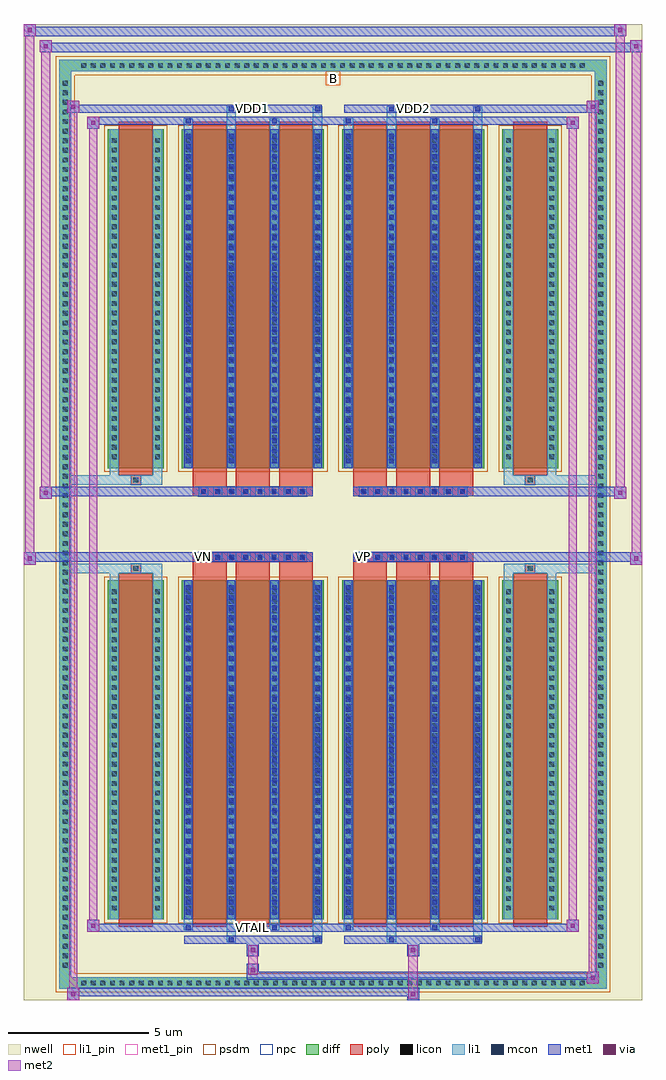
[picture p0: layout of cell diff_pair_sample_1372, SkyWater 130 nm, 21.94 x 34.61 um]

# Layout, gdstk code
import gdstk
lib = gdstk.Library(unit=1e-6, precision=5e-09)
def R(c, l, rs):  # rectangles x0, y0, x1, y1
    for r in rs: c.add(gdstk.rectangle(r[:2], r[2:], *l))
def A(c, l, x, y, w, h, nx, ny, dx, dy):  # array of equal rectangles
    R(c, l, [(x+i*dx, y+j*dy, x+i*dx+w, y+j*dy+h) for i in range(nx) for j in range(ny)])
def P(c, l, *ps):  # polygons
    for p in ps: c.add(gdstk.Polygon(p, *l))
nwell = (64, 20)
diff = (65, 20)
poly = (66, 20)
licon = (66, 44)
li1_pin = (67, 16)
li1 = (67, 20)
mcon = (67, 44)
met1_pin = (68, 16)
met1 = (68, 20)
via = (68, 44)
met2 = (69, 20)
psdm = (94, 20)
npc = (95, 20)

diff_pair_sample_1372 = lib.new_cell('diff_pair_sample_1372')
R(diff_pair_sample_1372, nwell, [(-10.97,-16.87,10.97,17.74), (-8.29,-15.06,-0.01,-0.8), (0.01,-15.06,8.29,-0.8), (-8.29,0.8,-0.01,15.06), (0.01,0.8,8.29,15.06)])
A(diff_pair_sample_1372, diff, -9.045, -16.47, 0.41, 0.41, 53, 2, 0.34, 32.53)
A(diff_pair_sample_1372, diff, -9.7, -15.845, 0.41, 0.41, 1, 93, 0, 0.34)
A(diff_pair_sample_1372, diff, 9.29, -15.845, 0.41, 0.41, 1, 93, 0, 0.34)
R(diff_pair_sample_1372, diff, [(-9.045,-16.47,9.045,-16.06), (-9.7,-15.845,-9.29,15.845), (9.29,-15.845,9.7,15.845), (-7.98,-14.015,-6,-1.985), (-5.36,-14.015,-0.32,-1.985), (0.32,-14.015,5.36,-1.985), (6,-14.015,7.98,-1.985), (-7.98,1.985,-6,14.015), (-5.36,1.985,-0.32,14.015), (0.32,1.985,5.36,14.015), (6,1.985,7.98,14.015), (-9.045,16.06,9.045,16.47)])
P(diff_pair_sample_1372, diff, [(9.7,16.47),(-9.7,16.47),(-9.7,-16.06),(-9.29,-16.06),(-9.29,16.06),(9.29,16.06),(9.29,-16.06),(-9.29,-16.06),(-9.7,-16.06),(-9.7,-16.47),(9.7,-16.47)])
A(diff_pair_sample_1372, poly, -4.97, -14.265, 1.2, 12.53, 3, 2, 1.53, 16)
A(diff_pair_sample_1372, poly, 0.71, -14.265, 1.2, 12.53, 3, 2, 1.53, 16)
A(diff_pair_sample_1372, poly, -4.97, -1.735, 1.2, 0.405, 3, 2, 1.53, 3.065)
A(diff_pair_sample_1372, poly, 0.71, -1.735, 1.2, 0.405, 3, 2, 1.53, 3.065)
A(diff_pair_sample_1372, poly, -4.755, -1.33, 0.33, 0.33, 8, 2, 0.5, 2.33)
A(diff_pair_sample_1372, poly, 0.925, -1.33, 0.33, 0.33, 8, 2, 0.5, 2.33)
R(diff_pair_sample_1372, poly, [(-7.59,-14.265,-6.39,-1.735), (6.39,-14.265,7.59,-1.735), (-7.155,-1.735,-6.825,-1.405), (-7.155,-1.735,-6.825,-1.405), (6.825,-1.735,7.155,-1.405), (6.825,-1.735,7.155,-1.405), (-4.97,-1.33,-0.71,-1), (0.71,-1.33,4.97,-1), (-4.97,1,-0.71,1.33), (0.71,1,4.97,1.33), (-7.155,1.405,-6.825,1.735), (-7.155,1.405,-6.825,1.735), (6.825,1.405,7.155,1.735), (6.825,1.405,7.155,1.735), (-7.59,1.735,-6.39,14.265), (6.39,1.735,7.59,14.265)])
A(diff_pair_sample_1372, licon, -8.925, -16.35, 0.17, 0.17, 53, 2, 0.34, 32.53)
A(diff_pair_sample_1372, licon, -9.58, -15.725, 0.17, 0.17, 1, 93, 0, 0.34)
A(diff_pair_sample_1372, licon, 9.41, -15.725, 0.17, 0.17, 1, 93, 0, 0.34)
A(diff_pair_sample_1372, licon, -7.84, -13.695, 0.17, 0.17, 1, 34, 0, 0.34)
A(diff_pair_sample_1372, licon, -6.31, -13.695, 0.17, 0.17, 1, 34, 0, 0.34)
A(diff_pair_sample_1372, licon, -5.22, -13.695, 0.17, 0.17, 4, 34, 1.53, 0.34)
A(diff_pair_sample_1372, licon, 0.46, -13.695, 0.17, 0.17, 4, 34, 1.53, 0.34)
A(diff_pair_sample_1372, licon, 6.14, -13.695, 0.17, 0.17, 1, 34, 0, 0.34)
A(diff_pair_sample_1372, licon, 7.67, -13.695, 0.17, 0.17, 1, 34, 0, 0.34)
A(diff_pair_sample_1372, licon, -4.675, -1.25, 0.17, 0.17, 8, 2, 0.5, 2.33)
A(diff_pair_sample_1372, licon, 1.005, -1.25, 0.17, 0.17, 8, 2, 0.5, 2.33)
A(diff_pair_sample_1372, licon, -7.84, 2.305, 0.17, 0.17, 1, 34, 0, 0.34)
A(diff_pair_sample_1372, licon, -6.31, 2.305, 0.17, 0.17, 1, 34, 0, 0.34)
A(diff_pair_sample_1372, licon, -5.22, 2.305, 0.17, 0.17, 4, 34, 1.53, 0.34)
A(diff_pair_sample_1372, licon, 0.46, 2.305, 0.17, 0.17, 4, 34, 1.53, 0.34)
A(diff_pair_sample_1372, licon, 6.14, 2.305, 0.17, 0.17, 1, 34, 0, 0.34)
A(diff_pair_sample_1372, licon, 7.67, 2.305, 0.17, 0.17, 1, 34, 0, 0.34)
R(diff_pair_sample_1372, licon, [(-7.075,-1.655,-6.905,-1.485), (6.905,-1.655,7.075,-1.485), (-7.075,1.485,-6.905,1.655), (6.905,1.485,7.075,1.655)])
R(diff_pair_sample_1372, li1_pin, [(-0.25,15.56,0.25,16.06)])
A(diff_pair_sample_1372, li1, -9.005, -16.43, 0.33, 0.33, 53, 2, 0.34, 32.53)
A(diff_pair_sample_1372, li1, -9.66, -15.805, 0.33, 0.33, 1, 93, 0, 0.34)
A(diff_pair_sample_1372, li1, 9.33, -15.805, 0.33, 0.33, 1, 93, 0, 0.34)
A(diff_pair_sample_1372, li1, -5.3, -14.015, 0.33, 12.03, 4, 2, 1.53, 16)
A(diff_pair_sample_1372, li1, 0.38, -14.015, 0.33, 12.03, 4, 2, 1.53, 16)
A(diff_pair_sample_1372, li1, -5.22, -13.845, 0.17, 0.17, 4, 33, 1.53, 0.36)
A(diff_pair_sample_1372, li1, -5.22, -13.845, 0.17, 11.69, 4, 2, 1.53, 16)
A(diff_pair_sample_1372, li1, 0.46, -13.845, 0.17, 0.17, 4, 33, 1.53, 0.36)
A(diff_pair_sample_1372, li1, 0.46, -13.845, 0.17, 11.69, 4, 2, 1.53, 16)
A(diff_pair_sample_1372, li1, -7.92, -13.775, 0.33, 0.33, 1, 34, 0, 0.34)
A(diff_pair_sample_1372, li1, -6.39, -13.775, 0.33, 0.33, 1, 34, 0, 0.34)
A(diff_pair_sample_1372, li1, -5.3, -13.775, 0.33, 0.33, 4, 34, 1.53, 0.34)
A(diff_pair_sample_1372, li1, 0.38, -13.775, 0.33, 0.33, 4, 34, 1.53, 0.34)
A(diff_pair_sample_1372, li1, 6.06, -13.775, 0.33, 0.33, 1, 34, 0, 0.34)
A(diff_pair_sample_1372, li1, 7.59, -13.775, 0.33, 0.33, 1, 34, 0, 0.34)
A(diff_pair_sample_1372, li1, -4.755, -1.33, 0.33, 0.33, 8, 2, 0.5, 2.33)
A(diff_pair_sample_1372, li1, 0.925, -1.33, 0.33, 0.33, 8, 2, 0.5, 2.33)
A(diff_pair_sample_1372, li1, -5.22, 2.155, 0.17, 0.17, 4, 33, 1.53, 0.36)
A(diff_pair_sample_1372, li1, 0.46, 2.155, 0.17, 0.17, 4, 33, 1.53, 0.36)
A(diff_pair_sample_1372, li1, -7.92, 2.225, 0.33, 0.33, 1, 34, 0, 0.34)
A(diff_pair_sample_1372, li1, -6.39, 2.225, 0.33, 0.33, 1, 34, 0, 0.34)
A(diff_pair_sample_1372, li1, -5.3, 2.225, 0.33, 0.33, 4, 34, 1.53, 0.34)
A(diff_pair_sample_1372, li1, 0.38, 2.225, 0.33, 0.33, 4, 34, 1.53, 0.34)
A(diff_pair_sample_1372, li1, 6.06, 2.225, 0.33, 0.33, 1, 34, 0, 0.34)
A(diff_pair_sample_1372, li1, 7.59, 2.225, 0.33, 0.33, 1, 34, 0, 0.34)
R(diff_pair_sample_1372, li1, [(-9.7,-16.47,-9.29,-16.06), (-9.7,-16.47,-9.29,-16.06), (-9.29,-16.47,9.29,-16.06), (9.29,-16.47,9.7,-16.06), (9.29,-16.47,9.7,-16.06), (-9.7,-16.06,-9.29,16.06), (9.29,-16.06,9.7,16.06), (-3.77,-14.82,-3.44,-14.015), (-3.69,-14.82,-3.52,-14.65), (-0.71,-14.82,-0.38,-14.015), (-0.63,-14.82,-0.46,-14.65), (1.91,-14.82,2.24,-14.015), (1.99,-14.82,2.16,-14.65), (4.97,-14.82,5.3,-14.015), (5.05,-14.82,5.22,-14.65), (-5.3,-14.39,-4.97,-14.015), (-5.22,-14.39,-5.05,-14.22), (-2.24,-14.39,-1.91,-14.015), (-2.16,-14.39,-1.99,-14.22), (0.38,-14.39,0.71,-14.015), (0.46,-14.39,0.63,-14.22), (3.44,-14.39,3.77,-14.015), (3.52,-14.39,3.69,-14.22), (-7.92,-14.015,-7.59,-1.985), (-6.39,-14.015,-6.06,-1.985), (6.06,-14.015,6.39,-1.985), (7.59,-14.015,7.92,-1.985), (-7.92,-1.985,-7.59,-1.405), (-6.39,-1.985,-6.06,-1.405), (6.06,-1.985,6.39,-1.405), (7.59,-1.985,7.92,-1.405), (-9.7,-1.735,-7.155,-1.405), (-7.92,-1.735,-7.155,-1.405), (-7.155,-1.735,-6.825,-1.405), (-6.825,-1.735,-6.06,-1.405), (6.06,-1.735,6.825,-1.405), (6.825,-1.735,7.155,-1.405), (6.825,-1.735,9.7,-1.405), (7.155,-1.735,7.92,-1.405), (-9.7,1.405,-7.155,1.735), (-7.92,1.405,-7.155,1.735), (-7.92,1.405,-7.59,1.985), (-7.155,1.405,-6.825,1.735), (-6.825,1.405,-6.06,1.735), (-6.39,1.405,-6.06,1.985), (6.06,1.405,6.825,1.735), (6.06,1.405,6.39,1.985), (6.825,1.405,7.155,1.735), (6.825,1.405,9.7,1.735), (7.155,1.405,7.92,1.735), (7.59,1.405,7.92,1.985), (-7.92,1.985,-7.59,14.015), (-6.39,1.985,-6.06,14.015), (6.06,1.985,6.39,14.015), (7.59,1.985,7.92,14.015), (-5.3,14.015,-4.97,14.39), (-3.77,14.015,-3.44,14.82), (-2.24,14.015,-1.91,14.39), (-0.71,14.015,-0.38,14.82), (0.38,14.015,0.71,14.39), (1.91,14.015,2.24,14.82), (3.44,14.015,3.77,14.39), (4.97,14.015,5.3,14.82), (-5.22,14.22,-5.05,14.39), (-2.16,14.22,-1.99,14.39), (0.46,14.22,0.63,14.39), (3.52,14.22,3.69,14.39), (-3.69,14.65,-3.52,14.82), (-0.63,14.65,-0.46,14.82), (1.99,14.65,2.16,14.82), (5.05,14.65,5.22,14.82), (-9.7,16.06,-9.29,16.47), (-9.7,16.06,-9.29,16.47), (-9.29,16.06,9.29,16.47), (9.29,16.06,9.7,16.47), (9.29,16.06,9.7,16.47)])
A(diff_pair_sample_1372, mcon, -5.22, -13.845, 0.17, 0.17, 4, 33, 1.53, 0.36)
A(diff_pair_sample_1372, mcon, 0.46, -13.845, 0.17, 0.17, 4, 33, 1.53, 0.36)
A(diff_pair_sample_1372, mcon, -4.675, -1.25, 0.17, 0.17, 8, 2, 0.5, 2.33)
A(diff_pair_sample_1372, mcon, 1.005, -1.25, 0.17, 0.17, 8, 2, 0.5, 2.33)
A(diff_pair_sample_1372, mcon, -5.22, 2.155, 0.17, 0.17, 4, 33, 1.53, 0.36)
A(diff_pair_sample_1372, mcon, 0.46, 2.155, 0.17, 0.17, 4, 33, 1.53, 0.36)
R(diff_pair_sample_1372, mcon, [(-3.69,-14.82,-3.52,-14.65), (-0.63,-14.82,-0.46,-14.65), (1.99,-14.82,2.16,-14.65), (5.05,-14.82,5.22,-14.65), (-5.22,-14.39,-5.05,-14.22), (-2.16,-14.39,-1.99,-14.22), (0.46,-14.39,0.63,-14.22), (3.52,-14.39,3.69,-14.22), (-5.22,14.22,-5.05,14.39), (-2.16,14.22,-1.99,14.39), (0.46,14.22,0.63,14.39), (3.52,14.22,3.69,14.39), (-3.69,14.65,-3.52,14.82), (-0.63,14.65,-0.46,14.82), (1.99,14.65,2.16,14.82), (5.05,14.65,5.22,14.82)])
R(diff_pair_sample_1372, met1_pin, [(-2.975,-14.43,-2.705,-14.16), (-4.725,-1.29,-4.455,-1.02), (0.955,-1.29,1.225,-1.02), (-2.975,14.61,-2.705,14.88), (2.705,14.61,2.975,14.88)])
A(diff_pair_sample_1372, met1, -5.28, -14.015, 0.29, 12.03, 4, 2, 1.53, 16)
A(diff_pair_sample_1372, met1, 0.4, -14.015, 0.29, 12.03, 4, 2, 1.53, 16)
A(diff_pair_sample_1372, met1, -5.28, -13.905, 0.29, 0.29, 4, 33, 1.53, 0.36)
A(diff_pair_sample_1372, met1, 0.4, -13.905, 0.29, 0.29, 4, 33, 1.53, 0.36)
A(diff_pair_sample_1372, met1, -4.735, -1.31, 0.29, 0.29, 8, 2, 0.5, 2.33)
A(diff_pair_sample_1372, met1, 0.945, -1.31, 0.29, 0.29, 8, 2, 0.5, 2.33)
A(diff_pair_sample_1372, met1, -5.28, 2.095, 0.29, 0.29, 4, 33, 1.53, 0.36)
A(diff_pair_sample_1372, met1, 0.4, 2.095, 0.29, 0.29, 4, 33, 1.53, 0.36)
R(diff_pair_sample_1372, met1, [(-9.43,-16.87,-9,-16.44), (2.625,-16.87,3.055,-16.44), (-9.43,-16.73,3.055,-16.44), (9,-16.3,9.43,-15.87), (-3.055,-16.16,9.43,-15.87), (-3.055,-16.02,-2.625,-15.59), (-3.055,-15.31,-2.625,-14.88), (2.625,-15.31,3.055,-14.88), (-5.28,-14.88,-0.4,-14.59), (-3.75,-14.88,-3.46,-14.59), (-0.69,-14.88,-0.4,-14.59), (0.4,-14.88,5.28,-14.59), (1.93,-14.88,2.22,-14.59), (4.99,-14.88,5.28,-14.59), (-8.72,-14.45,-8.29,-14.02), (-8.72,-14.45,-5.28,-14.16), (-5.28,-14.45,-4.99,-14.16), (-5.28,-14.45,-0.4,-14.16), (-2.22,-14.45,-1.93,-14.16), (-0.4,-14.45,0.4,-14.16), (0.4,-14.45,0.69,-14.16), (0.4,-14.45,5.28,-14.16), (3.46,-14.45,3.75,-14.16), (5.28,-14.45,8.72,-14.16), (8.29,-14.45,8.72,-14.02), (-10.97,-1.43,-10.54,-1), (10.54,-1.43,10.97,-1), (-10.97,-1.33,-0.71,-1), (-4.97,-1.33,-0.71,-1), (0.71,-1.33,4.97,-1), (0.71,-1.33,10.97,-1), (-10.4,0.9,-9.97,1.33), (9.97,0.9,10.4,1.33), (-10.4,1,-4.97,1.33), (-4.97,1,-0.71,1.33), (0.71,1,4.97,1.33), (4.97,1,10.4,1.33), (-8.72,14.02,-8.29,14.45), (8.29,14.02,8.72,14.45), (-8.72,14.16,-5.28,14.45), (-5.28,14.16,-4.99,14.45), (-5.28,14.16,-0.4,14.45), (-2.22,14.16,-1.93,14.45), (-0.4,14.16,0.4,14.45), (0.4,14.16,0.69,14.45), (0.4,14.16,5.28,14.45), (3.46,14.16,3.75,14.45), (5.28,14.16,8.72,14.45), (-9.43,14.59,-9,15.02), (-9.43,14.59,-5.28,14.88), (-5.28,14.59,-0.4,14.88), (-3.75,14.59,-3.46,14.88), (-0.69,14.59,-0.4,14.88), (0.4,14.59,5.28,14.88), (1.93,14.59,2.22,14.88), (4.99,14.59,5.28,14.88), (5.28,14.59,9.43,14.88), (9,14.59,9.43,15.02), (-10.4,16.74,-9.97,17.17), (-10.4,16.74,-8.29,17.07), (-8.29,16.74,8.29,17.07), (8.29,16.74,10.97,17.07), (10.54,16.74,10.97,17.17), (-10.97,17.31,-10.54,17.74), (-10.97,17.31,-8.29,17.64), (-8.29,17.31,8.29,17.64), (8.29,17.31,10.4,17.64), (9.97,17.31,10.4,17.74)])
R(diff_pair_sample_1372, via, [(-9.29,-16.73,-9.14,-16.58), (2.765,-16.73,2.915,-16.58), (9.14,-16.16,9.29,-16.01), (-2.915,-15.88,-2.765,-15.73), (-2.915,-15.17,-2.765,-15.02), (2.765,-15.17,2.915,-15.02), (-8.58,-14.31,-8.43,-14.16), (8.43,-14.31,8.58,-14.16), (-10.83,-1.29,-10.68,-1.14), (10.68,-1.29,10.83,-1.14), (-10.26,1.04,-10.11,1.19), (10.11,1.04,10.26,1.19), (-8.58,14.16,-8.43,14.31), (8.43,14.16,8.58,14.31), (-9.29,14.73,-9.14,14.88), (9.14,14.73,9.29,14.88), (-10.26,16.88,-10.11,17.03), (10.68,16.88,10.83,17.03), (-10.83,17.45,-10.68,17.6), (10.11,17.45,10.26,17.6)])
R(diff_pair_sample_1372, met2, [(-9.43,-16.87,-9,-16.44), (-9.36,-16.87,-9.07,15.02), (-9.07,-16.87,-9,-16.44), (-9.38,-16.82,-9.05,-16.49), (2.675,-16.82,3.005,-16.49), (2.675,-16.49,3.005,-15.26), (9,-16.3,9.43,-15.87), (9.07,-16.3,9.36,15.02), (9.36,-16.3,9.43,-15.87), (9.05,-16.25,9.38,-15.92), (-3.005,-15.97,-2.675,-15.64), (-3.005,-15.64,-2.675,-15.26), (-3.005,-15.26,-2.675,-14.93), (2.675,-15.26,3.005,-14.93), (-8.72,-14.45,-8.29,-14.02), (-8.65,-14.45,-8.36,14.45), (-8.36,-14.45,-8.29,-14.02), (8.29,-14.45,8.72,-14.02), (8.36,-14.45,8.65,14.45), (8.65,-14.45,8.72,-14.02), (-8.67,-14.4,-8.34,-14.07), (8.34,-14.4,8.67,-14.07), (-10.97,-1.43,-10.54,-1), (-10.92,-1.43,-10.59,17.74), (-10.59,-1.43,-10.54,-1), (10.54,-1.43,10.97,-1), (10.59,-1.43,10.92,17.17), (10.92,-1.43,10.97,-1), (-10.92,-1.38,-10.59,-1.05), (10.59,-1.38,10.92,-1.05), (-10.4,0.9,-9.97,1.33), (-10.35,0.9,-10.02,17.17), (-10.02,0.9,-9.97,1.33), (9.97,0.9,10.4,1.33), (10.02,0.9,10.35,17.74), (10.35,0.9,10.4,1.33), (-10.35,0.95,-10.02,1.28), (10.02,0.95,10.35,1.28), (-8.72,14.02,-8.29,14.45), (-8.36,14.02,-8.29,14.45), (8.29,14.02,8.72,14.45), (8.65,14.02,8.72,14.45), (-8.67,14.07,-8.34,14.4), (8.34,14.07,8.67,14.4), (-9.43,14.59,-9,15.02), (-9.07,14.59,-9,15.02), (9,14.59,9.43,15.02), (9.36,14.59,9.43,15.02), (-9.38,14.64,-9.05,14.97), (9.05,14.64,9.38,14.97), (-10.4,16.74,-9.97,17.17), (-10.02,16.74,-9.97,17.17), (10.54,16.74,10.97,17.17), (10.92,16.74,10.97,17.17), (-10.35,16.79,-10.02,17.12), (10.59,16.79,10.92,17.12), (-10.97,17.31,-10.54,17.74), (-10.59,17.31,-10.54,17.74), (9.97,17.31,10.4,17.74), (10.35,17.31,10.4,17.74), (-10.92,17.36,-10.59,17.69), (10.02,17.36,10.35,17.69)])
R(diff_pair_sample_1372, psdm, [(-8.11,-14.145,-5.87,-1.855), (-5.49,-14.145,-0.19,-1.855), (0.19,-14.145,5.49,-1.855), (5.87,-14.145,8.11,-1.855), (-8.11,1.855,-5.87,14.145), (-5.49,1.855,-0.19,14.145), (0.19,1.855,5.49,14.145), (5.87,1.855,8.11,14.145)])
P(diff_pair_sample_1372, psdm, [(9.83,16.6),(-9.83,16.6),(-9.83,-15.93),(-9.16,-15.93),(-9.16,15.93),(9.16,15.93),(9.16,-15.93),(-9.16,-15.93),(-9.83,-15.93),(-9.83,-16.6),(9.83,-16.6)])
A(diff_pair_sample_1372, npc, -4.775, -1.35, 0.37, 0.37, 8, 2, 0.5, 2.33)
A(diff_pair_sample_1372, npc, 0.905, -1.35, 0.37, 0.37, 8, 2, 0.5, 2.33)
R(diff_pair_sample_1372, npc, [(-7.175,-1.755,-6.805,-1.385), (6.805,-1.755,7.175,-1.385), (-4.775,-1.35,-3.905,-0.98), (-4.775,-1.35,-3.905,-0.98), (-4.275,-1.35,-3.405,-0.98), (-4.275,-1.35,-3.405,-0.98), (-3.775,-1.35,-2.905,-0.98), (-3.775,-1.35,-2.905,-0.98), (-3.275,-1.35,-2.405,-0.98), (-3.275,-1.35,-2.405,-0.98), (-2.775,-1.35,-1.905,-0.98), (-2.775,-1.35,-1.905,-0.98), (-2.275,-1.35,-1.405,-0.98), (-2.275,-1.35,-1.405,-0.98), (-1.775,-1.35,-0.905,-0.98), (-1.775,-1.35,-0.905,-0.98), (0.905,-1.35,1.775,-0.98), (0.905,-1.35,1.775,-0.98), (1.405,-1.35,2.275,-0.98), (1.405,-1.35,2.275,-0.98), (1.905,-1.35,2.775,-0.98), (1.905,-1.35,2.775,-0.98), (2.405,-1.35,3.275,-0.98), (2.405,-1.35,3.275,-0.98), (2.905,-1.35,3.775,-0.98), (2.905,-1.35,3.775,-0.98), (3.405,-1.35,4.275,-0.98), (3.405,-1.35,4.275,-0.98), (3.905,-1.35,4.775,-0.98), (3.905,-1.35,4.775,-0.98), (-4.775,0.98,-3.905,1.35), (-4.775,0.98,-3.905,1.35), (-4.275,0.98,-3.405,1.35), (-4.275,0.98,-3.405,1.35), (-3.775,0.98,-2.905,1.35), (-3.775,0.98,-2.905,1.35), (-3.275,0.98,-2.405,1.35), (-3.275,0.98,-2.405,1.35), (-2.775,0.98,-1.905,1.35), (-2.775,0.98,-1.905,1.35), (-2.275,0.98,-1.405,1.35), (-2.275,0.98,-1.405,1.35), (-1.775,0.98,-0.905,1.35), (-1.775,0.98,-0.905,1.35), (0.905,0.98,1.775,1.35), (0.905,0.98,1.775,1.35), (1.405,0.98,2.275,1.35), (1.405,0.98,2.275,1.35), (1.905,0.98,2.775,1.35), (1.905,0.98,2.775,1.35), (2.405,0.98,3.275,1.35), (2.405,0.98,3.275,1.35), (2.905,0.98,3.775,1.35), (2.905,0.98,3.775,1.35), (3.405,0.98,4.275,1.35), (3.405,0.98,4.275,1.35), (3.905,0.98,4.775,1.35), (3.905,0.98,4.775,1.35), (-7.175,1.385,-6.805,1.755), (6.805,1.385,7.175,1.755)])
diff_pair_sample_1372.add(gdstk.Label('VTAIL', (-2.84,-14.295), layer=68, texttype=5))
diff_pair_sample_1372.add(gdstk.Label('VN', (-4.59,-1.155), layer=68, texttype=5))
diff_pair_sample_1372.add(gdstk.Label('VP', (1.09,-1.155), layer=68, texttype=5))
diff_pair_sample_1372.add(gdstk.Label('B', (0,15.81), layer=67, texttype=5))
diff_pair_sample_1372.add(gdstk.Label('VDD2', (2.84,14.745), layer=68, texttype=5))
diff_pair_sample_1372.add(gdstk.Label('VDD1', (-2.84,14.745), layer=68, texttype=5))

lib.write_gds('diff_pair_sample_1372.gds')
